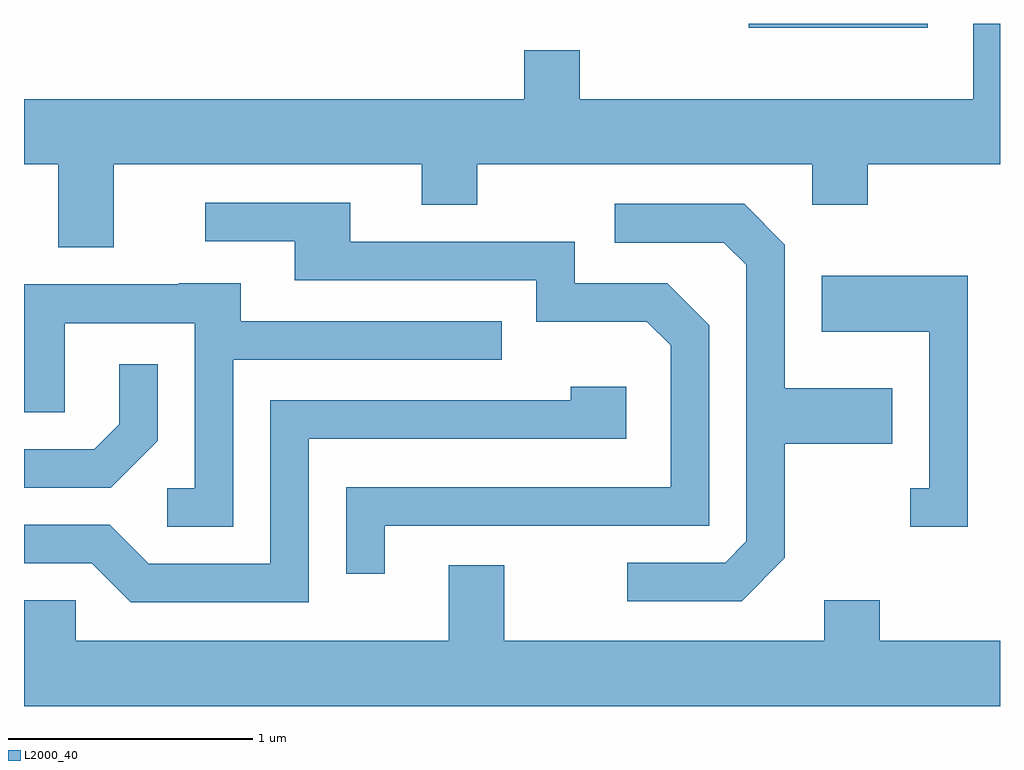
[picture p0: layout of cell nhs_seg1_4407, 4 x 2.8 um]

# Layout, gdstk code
import gdstk
lib = gdstk.Library(unit=1e-6, precision=1e-09)
def R(c, l, rs):  # rectangles x0, y0, x1, y1
    for r in rs: c.add(gdstk.rectangle(r[:2], r[2:], *l))
def P(c, l, *ps):  # polygons
    for p in ps: c.add(gdstk.Polygon(p, *l))
L2000_40 = (2000, 40)

nhs_seg1_4407 = lib.new_cell('nhs_seg1_4407')
R(nhs_seg1_4407, L2000_40, [(320.581,895.696,321.314,895.712)])
P(nhs_seg1_4407, L2000_40, [(317.979,895.136),(319.241,895.136),(319.241,894.971),(319.469,894.971),(319.469,895.136),(320.841,895.136),(320.841,894.971),(321.069,894.971),(321.069,895.136),(321.611,895.136),(321.611,895.712),(321.501,895.712),(321.501,895.404),(319.889,895.404),(319.889,895.604),(319.661,895.604),(319.661,895.404),(317.611,895.404),(317.611,895.136),(317.751,895.136),(317.751,894.796),(317.979,894.796)],
  [(319.089,893.656),(320.419,893.656),(320.419,894.477),(320.247,894.649),(319.869,894.649),(319.869,894.819),(318.949,894.819),(318.949,894.979),(318.353,894.979),(318.353,894.821),(318.721,894.821),(318.721,894.661),(319.711,894.661),(319.711,894.491),(320.164,894.491),(320.261,894.394),(320.261,893.814),(318.931,893.814),(318.931,893.458),(319.089,893.458)],
  [(320.729,893.524),(320.729,893.991),(321.169,893.991),(321.169,894.219),(320.729,894.219),(320.729,894.807),(320.562,894.974),(320.033,894.974),(320.033,894.816),(320.479,894.816),(320.571,894.724),(320.571,893.592),(320.484,893.504),(320.083,893.504),(320.083,893.346),(320.552,893.346)],
  [(321.479,894.679),(320.881,894.679),(320.881,894.451),(321.321,894.451),(321.321,893.809),(321.243,893.809),(321.243,893.651),(321.479,893.651)],
  [(318.469,894.336),(319.568,894.336),(319.568,894.494),(318.499,894.494),(318.499,894.649),(318.245,894.649),(318.245,894.644),(317.611,894.644),(317.611,894.121),(317.779,894.121),(317.779,894.486),(318.311,894.486),(318.311,893.809),(318.198,893.809),(318.198,893.651),(318.469,893.651)],
  [(318.159,894.004),(318.159,894.318),(318.001,894.318),(318.001,894.072),(317.899,893.969),(317.611,893.969),(317.611,893.811),(317.967,893.811)],
  [(318.779,894.011),(320.079,894.011),(320.079,894.224),(319.851,894.224),(319.851,894.169),(318.621,894.169),(318.621,893.499),(318.122,893.499),(317.962,893.659),(317.611,893.659),(317.611,893.501),(317.889,893.501),(318.049,893.341),(318.779,893.341)],
  [(321.611,893.184),(321.119,893.184),(321.119,893.349),(320.891,893.349),(320.891,893.184),(319.579,893.184),(319.579,893.494),(319.351,893.494),(319.351,893.184),(317.824,893.184),(317.824,893.349),(317.611,893.349),(317.611,892.916),(321.611,892.916)])

lib.write_gds('nhs_seg1_4407.gds')
